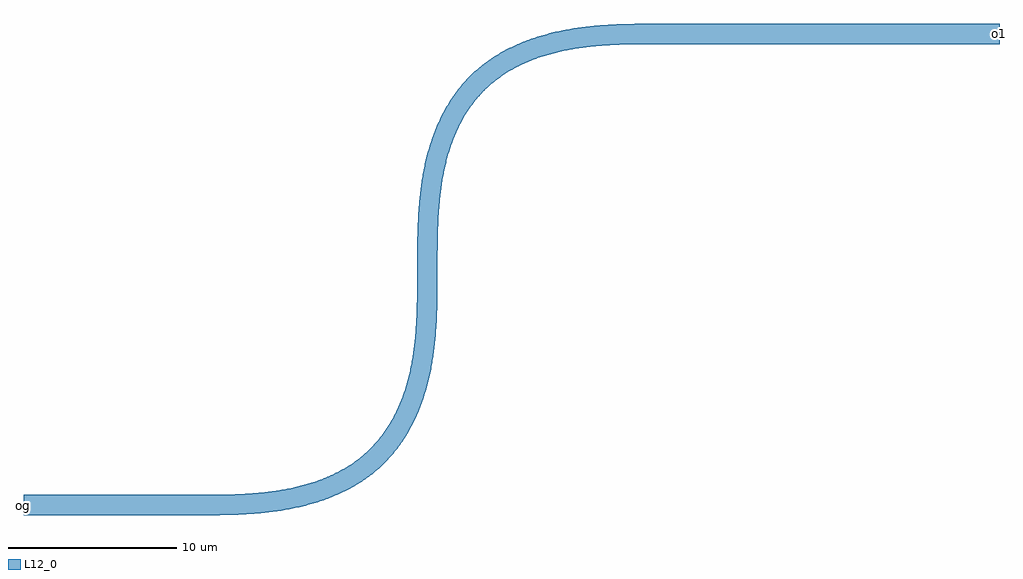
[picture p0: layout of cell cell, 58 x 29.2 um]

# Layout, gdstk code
import gdstk
lib = gdstk.Library(unit=1e-6, precision=1e-09)
def R(c, l, rs):  # rectangles x0, y0, x1, y1
    for r in rs: c.add(gdstk.rectangle(r[:2], r[2:], *l))
L12_0 = (12, 0)

cell = lib.new_cell('cell')
R(cell, L12_0, [(0,-0.6,10,0.6), (38,27.4,58,28.6)])
cell.add(gdstk.FlexPath([(10,0),(10.119,0),(10.238,0),(10.356,0),(10.475,0),(10.594,0),(10.713,0.001),(10.831,0.001),(10.95,0.002),(11.069,0.002),(11.188,0.003),(11.307,0.004),(11.425,0.005),(11.544,0.007),(11.663,0.009),(11.782,0.011),(11.9,0.013),(12.019,0.016),(12.138,0.019),(12.257,0.022),(12.375,0.025),(12.494,0.029),(12.613,0.034),(12.731,0.039),(12.85,0.044),(12.969,0.05),(13.087,0.056),(13.206,0.062),(13.325,0.07),(13.443,0.077),(13.562,0.086),(13.68,0.094),(13.798,0.104),(13.917,0.114),(14.035,0.125),(14.153,0.136),(14.272,0.148),(14.39,0.161),(14.508,0.174),(14.626,0.188),(14.743,0.203),(14.861,0.218),(14.979,0.235),(15.096,0.252),(15.214,0.27),(15.331,0.289),(15.448,0.308),(15.565,0.329),(15.682,0.35),(15.799,0.372),(15.915,0.395),(16.032,0.42),(16.148,0.445),(16.264,0.471),(16.379,0.498),(16.495,0.526),(16.61,0.555),(16.725,0.585),(16.839,0.616),(16.954,0.648),(17.068,0.681),(17.182,0.716),(17.295,0.751),(17.408,0.788),(17.521,0.825),(17.633,0.864),(17.745,0.904),(17.856,0.945),(17.967,0.988),(18.077,1.032),(18.187,1.076),(18.297,1.122),(18.406,1.17),(18.514,1.218),(18.622,1.268),(18.729,1.319),(18.836,1.372),(18.942,1.425),(19.047,1.48),(19.152,1.537),(19.256,1.594),(19.359,1.653),(19.461,1.713),(19.563,1.775),(19.663,1.838),(19.763,1.902),(19.862,1.968),(19.96,2.035),(20.057,2.103),(20.153,2.173),(20.249,2.244),(20.343,2.317),(20.436,2.391),(20.528,2.466),(20.619,2.542),(20.708,2.62),(20.797,2.7),(20.884,2.78),(20.97,2.862),(21.054,2.946),(21.138,3.03),(21.22,3.116),(21.3,3.203),(21.38,3.292),(21.458,3.381),(21.534,3.472),(21.609,3.564),(21.683,3.657),(21.756,3.751),(21.827,3.847),(21.897,3.943),(21.965,4.04),(22.032,4.138),(22.098,4.237),(22.162,4.337),(22.225,4.437),(22.287,4.539),(22.347,4.641),(22.406,4.744),(22.463,4.848),(22.52,4.953),(22.575,5.058),(22.628,5.164),(22.681,5.271),(22.732,5.378),(22.782,5.486),(22.83,5.594),(22.878,5.703),(22.924,5.813),(22.968,5.923),(23.012,6.033),(23.055,6.144),(23.096,6.255),(23.136,6.367),(23.175,6.479),(23.212,6.592),(23.249,6.705),(23.284,6.818),(23.319,6.932),(23.352,7.046),(23.384,7.161),(23.415,7.275),(23.445,7.39),(23.474,7.505),(23.502,7.621),(23.529,7.736),(23.555,7.852),(23.58,7.968),(23.605,8.085),(23.628,8.201),(23.65,8.318),(23.671,8.435),(23.692,8.552),(23.711,8.669),(23.73,8.786),(23.748,8.904),(23.765,9.021),(23.782,9.139),(23.797,9.257),(23.812,9.374),(23.826,9.492),(23.839,9.61),(23.852,9.728),(23.864,9.847),(23.875,9.965),(23.886,10.083),(23.896,10.202),(23.906,10.32),(23.914,10.438),(23.923,10.557),(23.93,10.675),(23.938,10.794),(23.944,10.913),(23.95,11.031),(23.956,11.15),(23.961,11.269),(23.966,11.387),(23.971,11.506),(23.975,11.625),(23.978,11.743),(23.981,11.862),(23.984,11.981),(23.987,12.1),(23.989,12.218),(23.991,12.337),(23.993,12.456),(23.995,12.575),(23.996,12.693),(23.997,12.812),(23.998,12.931),(23.998,13.05),(23.999,13.169),(23.999,13.287),(24,13.406),(24,13.525),(24,13.644),(24,13.762),(24,13.881),(24,14)], 1.2, ends="flush", simple_path=True, layer=12, datatype=0))  # L12_0
cell.add(gdstk.FlexPath([(38,28),(37.881,28),(37.762,28),(37.644,28),(37.525,28),(37.406,28),(37.287,27.999),(37.169,27.999),(37.05,27.998),(36.931,27.998),(36.812,27.997),(36.693,27.996),(36.575,27.995),(36.456,27.993),(36.337,27.991),(36.218,27.989),(36.1,27.987),(35.981,27.984),(35.862,27.981),(35.743,27.978),(35.625,27.975),(35.506,27.971),(35.387,27.966),(35.269,27.961),(35.15,27.956),(35.031,27.95),(34.913,27.944),(34.794,27.938),(34.675,27.93),(34.557,27.923),(34.438,27.914),(34.32,27.906),(34.202,27.896),(34.083,27.886),(33.965,27.875),(33.847,27.864),(33.728,27.852),(33.61,27.839),(33.492,27.826),(33.374,27.812),(33.257,27.797),(33.139,27.782),(33.021,27.765),(32.904,27.748),(32.786,27.73),(32.669,27.711),(32.552,27.692),(32.435,27.671),(32.318,27.65),(32.201,27.628),(32.085,27.605),(31.968,27.58),(31.852,27.555),(31.736,27.529),(31.621,27.502),(31.505,27.474),(31.39,27.445),(31.275,27.415),(31.161,27.384),(31.046,27.352),(30.932,27.319),(30.818,27.284),(30.705,27.249),(30.592,27.212),(30.479,27.175),(30.367,27.136),(30.255,27.096),(30.144,27.055),(30.033,27.012),(29.923,26.968),(29.813,26.924),(29.703,26.878),(29.594,26.83),(29.486,26.782),(29.378,26.732),(29.271,26.681),(29.164,26.628),(29.058,26.575),(28.953,26.52),(28.848,26.463),(28.744,26.406),(28.641,26.347),(28.539,26.287),(28.437,26.225),(28.337,26.162),(28.237,26.098),(28.138,26.032),(28.04,25.965),(27.943,25.897),(27.847,25.827),(27.751,25.756),(27.657,25.683),(27.564,25.609),(27.472,25.534),(27.381,25.458),(27.292,25.38),(27.203,25.3),(27.116,25.22),(27.03,25.138),(26.946,25.054),(26.862,24.97),(26.78,24.884),(26.7,24.797),(26.62,24.708),(26.542,24.619),(26.466,24.528),(26.391,24.436),(26.317,24.343),(26.244,24.249),(26.173,24.153),(26.103,24.057),(26.035,23.96),(25.968,23.862),(25.902,23.763),(25.838,23.663),(25.775,23.563),(25.713,23.461),(25.653,23.359),(25.594,23.256),(25.537,23.152),(25.48,23.047),(25.425,22.942),(25.372,22.836),(25.319,22.729),(25.268,22.622),(25.218,22.514),(25.17,22.406),(25.122,22.297),(25.076,22.187),(25.032,22.077),(24.988,21.967),(24.945,21.856),(24.904,21.745),(24.864,21.633),(24.825,21.521),(24.788,21.408),(24.751,21.295),(24.716,21.182),(24.681,21.068),(24.648,20.954),(24.616,20.839),(24.585,20.725),(24.555,20.61),(24.526,20.495),(24.498,20.379),(24.471,20.264),(24.445,20.148),(24.42,20.032),(24.395,19.915),(24.372,19.799),(24.35,19.682),(24.329,19.565),(24.308,19.448),(24.289,19.331),(24.27,19.214),(24.252,19.096),(24.235,18.979),(24.218,18.861),(24.203,18.743),(24.188,18.626),(24.174,18.508),(24.161,18.39),(24.148,18.272),(24.136,18.153),(24.125,18.035),(24.114,17.917),(24.104,17.798),(24.094,17.68),(24.086,17.562),(24.077,17.443),(24.07,17.325),(24.062,17.206),(24.056,17.087),(24.05,16.969),(24.044,16.85),(24.039,16.731),(24.034,16.613),(24.029,16.494),(24.025,16.375),(24.022,16.257),(24.019,16.138),(24.016,16.019),(24.013,15.9),(24.011,15.782),(24.009,15.663),(24.007,15.544),(24.005,15.425),(24.004,15.307),(24.003,15.188),(24.002,15.069),(24.002,14.95),(24.001,14.831),(24.001,14.713),(24,14.594),(24,14.475),(24,14.356),(24,14.238),(24,14.119),(24,14)], 1.2, ends="flush", simple_path=True, layer=12, datatype=0))  # L12_0
cell.add(gdstk.Label('og', (0,0), layer=0, texttype=0))
cell.add(gdstk.Label('o0', (0,0), layer=0, texttype=0))
cell.add(gdstk.Label('o1', (58,28), layer=0, texttype=0))

lib.write_gds('cell.gds')
